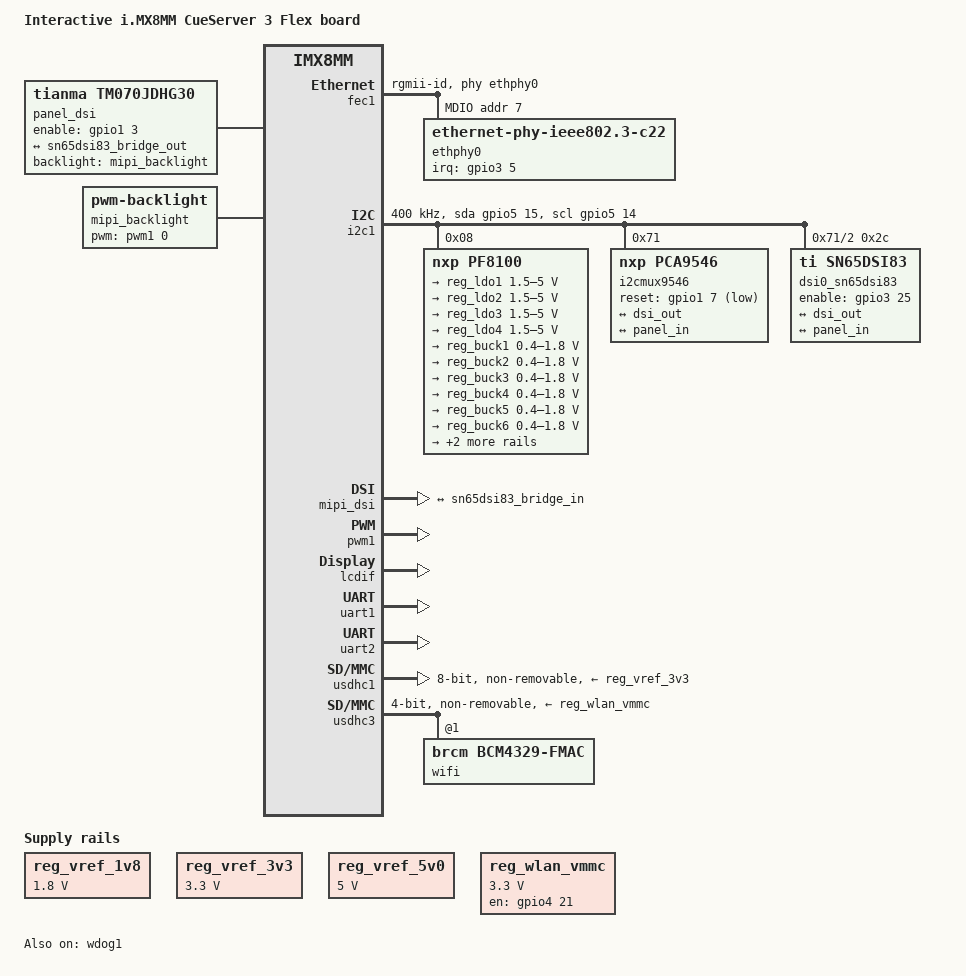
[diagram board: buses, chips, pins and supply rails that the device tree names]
// SPDX-License-Identifier: (GPL-2.0+ OR MIT)
/*
 * Copyright 2023 Boundary Devices
 */

/dts-v1/;
#include "imx8mm.dtsi"

/ {
	model = "Interactive i.MX8MM CueServer 3 Flex board";
	compatible = "boundary,imx8mm-nitrogen-smarc", "fsl,imx8mm";

	aliases {
		rtc1 = &snvs_rtc;
	};

	chosen {
                stdout-path = &uart2;
        };

	panel_dsi: panel-dsi {
		pinctrl-names = "default";
		pinctrl-0 = <&pinctrl_lvds>;
		//compatible = "boundary,bd070-101"; /* For BD070LIC3 and BD101LCC3 */
		compatible = "tianma,tm070jdhg30";
		// compatible = "panel-lvds";
		backlight = <&mipi_backlight>;
		enable-gpios = <&gpio1 3 GPIO_ACTIVE_HIGH>;
		status = "okay";
#if 0
		width-mm = <151>;
                height-mm = <95>;

                fsl,data-mapping = "spwg"; /* spwg or jeida */
                fsl,data-width = <24>; /* 18, 24 etc.*/
                data-mapping = "vesa-24"; /* vesa-24 or jeida-24 etc. */

		panel_t: panel-timing {
                        /*  */
                        clock-frequency = <71700000>;
                        hactive = <1280>;
                        hfront-porch = <151>;
                        hback-porch = <5>;
                        hsync-len = <4>;
                        vactive = <800>;
                        vfront-porch = <28>;
                        vback-porch = <2>;
                        vsync-len = <1>;
                };
#endif
		port {
			panel_in: endpoint {
				remote-endpoint = <&sn65dsi83_bridge_out>;
			};
		};
	};

        reg_vref_1v8: regulator-vref-1v8 {
                compatible = "regulator-fixed";
                regulator-name = "vref-1v8";
                regulator-min-microvolt = <1800000>;
                regulator-max-microvolt = <1800000>;
        };

        reg_vref_3v3: regulator-vref-3v3 {
                compatible = "regulator-fixed";
                regulator-name = "vref-3v3";
                regulator-min-microvolt = <3300000>;
                regulator-max-microvolt = <3300000>;
        };

        reg_vref_5v0: regulator-vref-5v0 {
                compatible = "regulator-fixed";
                regulator-name = "vref-5v0";
                regulator-min-microvolt = <5000000>;
                regulator-max-microvolt = <5000000>;
        };

        reg_wlan_vmmc: regulator-wlan-vmmc {
                compatible = "regulator-fixed";
                pinctrl-names = "default";
                pinctrl-0 = <&pinctrl_reg_wlan_vmmc>;
                regulator-name = "reg_wlan_vmmc";
                regulator-min-microvolt = <3300000>;
                regulator-max-microvolt = <3300000>;
                gpio = <&gpio4 21 GPIO_ACTIVE_HIGH>;
                startup-delay-us = <70000>;
                enable-active-high;
        };

	mipi_backlight: mipi-backlight {
		brightness-levels = <0 1 2 3 4 5 6 7 8 9 10>;
		compatible = "pwm-backlight";
		default-brightness-level = <8>;
		display = <&mipi_backlight>;
		pwms = <&pwm1 0 30000 0>;
		status = "okay";
	};

};


&A53_0 {
        cpu-supply = <&reg_buck3>;
};

&fec1 {
        pinctrl-names = "default";
        pinctrl-0 = <&pinctrl_fec1>;
        phy-mode = "rgmii-id";
        phy-handle = <&ethphy0>;
        fsl,magic-packet;
        status = "okay";

        mdio {
                #address-cells = <1>;
                #size-cells = <0>;

                ethphy0: ethernet-phy@7 {
                        compatible = "ethernet-phy-ieee802.3-c22";
                        interrupts-extended = <&gpio3 5 IRQ_TYPE_LEVEL_LOW>;
                        reg = <7>;
                        rxc-skew-ps = <3000>;
                        rxd0-skew-ps = <0>;
                        rxd1-skew-ps = <0>;
                        rxd2-skew-ps = <0>;
                        rxd3-skew-ps = <0>;
                        rxdv-skew-ps = <0>;
                        txc-skew-ps = <3000>;
                        txd0-skew-ps = <0>;
                        txd1-skew-ps = <0>;
                        txd2-skew-ps = <0>;
                        txd3-skew-ps = <0>;
                        txen-skew-ps = <0>;
                };
        };
};

&i2c1 {
        clock-frequency = <400000>;
        pinctrl-names = "default", "gpio";
        pinctrl-0 = <&pinctrl_i2c1>;
        pinctrl-1 = <&pinctrl_i2c1_1>;
        scl-gpios = <&gpio5 14 GPIO_OPEN_DRAIN>;
        sda-gpios = <&gpio5 15 GPIO_OPEN_DRAIN>;
        status = "okay";

        pf8100@8 {
                compatible = "nxp,pf8100";
                pinctrl-names = "default";
                pinctrl-0 = <&pinctrl_i2c1_pf8100>;
                reg = <0x08>;

                regulators {
                        reg_ldo1: ldo1 {
                                regulator-always-on;
                                regulator-boot-on;
                                regulator-max-microvolt = <5000000>;
                                regulator-min-microvolt = <1500000>;
                        };

                        reg_ldo2: ldo2 {
                                regulator-always-on;
                                regulator-boot-on;
                                regulator-max-microvolt = <5000000>;
                                regulator-min-microvolt = <1500000>;
                                /* vselect low is 3.3V, high is 1.8V */
                                vselect-en;
                        };

                        reg_ldo3: ldo3 {
                                regulator-always-on;
                                regulator-boot-on;
                                regulator-max-microvolt = <5000000>;
                                regulator-min-microvolt = <1500000>;
                        };

                        reg_ldo4: ldo4 {
                                regulator-always-on;
                                regulator-boot-on;
                                regulator-max-microvolt = <5000000>;
                                regulator-min-microvolt = <1500000>;
                        };

                        reg_buck1: buck1 {
                                nxp,phase-shift = <0>;
                                regulator-max-microamp = <4500000>;
                                regulator-always-on;
                                regulator-boot-on;
                                regulator-max-microvolt = <1800000>;
                                regulator-min-microvolt =  <400000>;
                        };

                        reg_buck2: buck2 {
                                regulator-always-on;
                                regulator-boot-on;
                                regulator-max-microvolt = <1800000>;
                                regulator-min-microvolt =  <400000>;
                        };

                        reg_buck3: buck3 {
                                regulator-always-on;
                                regulator-boot-on;
                                regulator-max-microvolt = <1800000>;
                                regulator-min-microvolt =  <400000>;
                                fast-slew = <1>;
                        };

                        reg_buck4: buck4 {
                                regulator-always-on;
                                regulator-boot-on;
                                regulator-max-microvolt = <1800000>;
                                regulator-min-microvolt =  <400000>;
                                fast-slew = <1>;
                        };

                        reg_buck5: buck5 {
                                regulator-boot-on;
                                regulator-max-microvolt = <1800000>;
                                regulator-min-microvolt =  <400000>;
                        };

                        reg_buck6: buck6 {
                                regulator-always-on;
                                regulator-boot-on;
                                regulator-max-microvolt = <1800000>;
                                regulator-min-microvolt =  <400000>;
                        };

                        reg_buck7: buck7 {
                                regulator-always-on;
                                regulator-boot-on;
                                regulator-max-microvolt = <4100000>;
                                regulator-min-microvolt = <1000000>;
                        };

                        reg_vsnvs: vsnvs {
                                regulator-always-on;
                                regulator-boot-on;
                                regulator-max-microvolt = <3300000>;
                                regulator-min-microvolt = <1800000>;
                        };
                };
        };

	i2cmux9546@71 {
                pinctrl-names = "default";
                pinctrl-0 = <&pinctrl_i2c1_pca9546>;
                compatible = "nxp,pca9546";
                reg = <0x71>;
                reset-gpios = <&gpio1 7 GPIO_ACTIVE_LOW>;
                #address-cells = <1>;
                #size-cells = <0>;

                i2c1a: i2c1@0 {
                        /* CSI0 */
                        clock-frequency = <100000>;
                        reg = <0>;
                        #address-cells = <1>;
                        #size-cells = <0>;
                };

                i2c1b: i2c1@1 {
                        /* LCD */
                        clock-frequency = <100000>;
                        reg = <1>;
                        #address-cells = <1>;
                        #size-cells = <0>;
                };

                i2c1c: i2c1@2 {
                        /* SN65 */
                        clock-frequency = <100000>;
                        reg = <2>;
                        #address-cells = <1>;
                        #size-cells = <0>;
                };
        };
}; // End &i2c1

&mipi_dsi {

	status = "okay";

	port@1 {
		reg = <1>;
		dsi_out: endpoint {
			remote-endpoint = <&sn65dsi83_bridge_in>;
			attach-bridge;
		};
	};
};

&pwm1 {
	status = "okay";
};

&i2c1c {
	dsi0_sn65dsi83: dsi0@2c {
		compatible = "ti,sn65dsi83";
		pinctrl-names = "default";
		pinctrl-0 = <&pinctrl_sn65>;
		enable-gpios = <&gpio3 25 GPIO_ACTIVE_HIGH>;
		/* This driver does NOT use the interrupt pin */
		reg = <0x2c>;
		status = "okay";

		ports {
		#address-cells = <1>;
		#size-cells = <0>;

			port@0 {
				reg = <0>;

				sn65dsi83_bridge_in: endpoint {
					remote-endpoint = <&dsi_out>;
					data-lanes = <1 2 3 4>;
				};
			};

			port@2 {
				reg = <2>;

				sn65dsi83_bridge_out: endpoint {
					remote-endpoint = <&panel_in>;
				};
			};

		};
	};
};

&lcdif {
        status = "okay";
};

&uart1 {
	pinctrl-names = "default";
        pinctrl-0 = <&pinctrl_uart1>;
        assigned-clocks = <&clk IMX8MM_CLK_UART1>;
        assigned-clock-parents = <&clk IMX8MM_SYS_PLL1_80M>;
        status = "okay";
};

&uart2 { /* console */
	pinctrl-names = "default";
        pinctrl-0 = <&pinctrl_uart2>;
        assigned-clocks = <&clk IMX8MM_CLK_UART1>;
        assigned-clocks = <&clk IMX8MM_CLK_UART2>;
        assigned-clock-parents = <&clk IMX8MM_CLK_24M>;
        status = "okay";
};

&usdhc1 {
        bus-width = <8>;
        mmc-hs400-1_8v;
        mmc-hs400-enhanced-strobe;
        no-sd;
        no-sdio;
        non-removable;
        pinctrl-names = "default", "state_100mhz", "state_200mhz";
        pinctrl-0 = <&pinctrl_usdhc1>;
        pinctrl-1 = <&pinctrl_usdhc1_100mhz>;
        pinctrl-2 = <&pinctrl_usdhc1_200mhz>;
        status = "okay";
        vmmc-supply = <&reg_vref_3v3>;
        vqmmc-1-8-v;
        vqmmc-supply = <&reg_vref_1v8>;
};

&usdhc3 {
        bus-width = <4>;
        fsl,sdio-async-interrupt-enabled;
        keep-power-in-suspend;
        non-removable;
        pinctrl-names = "default", "state_100mhz", "state_200mhz";
        pinctrl-0 = <&pinctrl_usdhc3>;
        pinctrl-1 = <&pinctrl_usdhc3_100mhz>;
        pinctrl-2 = <&pinctrl_usdhc3_200mhz>;
        pm-ignore-notify;
        status = "okay";
        vmmc-supply = <&reg_wlan_vmmc>;
        vqmmc-1-8-v;
        vqmmc-supply = <&reg_vref_1v8>;
        #address-cells = <1>;
        #size-cells = <0>;

        wifi@1 {
                reg = <1>;
                compatible = "brcm,bcm4329-fmac";
                laird,regdomain = "US";
        };
};

&wdog1 {
        pinctrl-names = "default";
        pinctrl-0 = <&pinctrl_wdog>;
        fsl,ext-reset-output;
        status = "okay";
};

&iomuxc {
	pinctrl_fec1: fec1grp {
                fsl,pins = <
			MX8MM_IOMUXC_ENET_MDC_ENET1_MDC			0x00
			MX8MM_IOMUXC_ENET_MDIO_ENET1_MDIO		0x00
			MX8MM_IOMUXC_ENET_RD0_ENET1_RGMII_RD0		0x91
			MX8MM_IOMUXC_ENET_RD1_ENET1_RGMII_RD1		0x91
			MX8MM_IOMUXC_ENET_RD2_ENET1_RGMII_RD2		0x91
			MX8MM_IOMUXC_ENET_RD3_ENET1_RGMII_RD3		0x91
			MX8MM_IOMUXC_ENET_RXC_ENET1_RGMII_RXC		0x91
			MX8MM_IOMUXC_ENET_RX_CTL_ENET1_RGMII_RX_CTL	0x91
			MX8MM_IOMUXC_ENET_TD0_ENET1_RGMII_TD0		0x10
			MX8MM_IOMUXC_ENET_TD1_ENET1_RGMII_TD1		0x10
			MX8MM_IOMUXC_ENET_TD2_ENET1_RGMII_TD2		0x10
			MX8MM_IOMUXC_ENET_TD3_ENET1_RGMII_TD3		0x10
			MX8MM_IOMUXC_ENET_TXC_ENET1_RGMII_TXC		0x12
			MX8MM_IOMUXC_ENET_TX_CTL_ENET1_RGMII_TX_CTL	0x10
			MX8MM_IOMUXC_NAND_RE_B_GPIO3_IO15		0x159
			MX8MM_IOMUXC_NAND_CLE_GPIO3_IO5			0x1c0
                >;
        };

	pinctrl_i2c1: i2c1grp {
                fsl,pins = <
			MX8MM_IOMUXC_I2C1_SCL_I2C1_SCL			0x400001c3
			MX8MM_IOMUXC_I2C1_SDA_I2C1_SDA			0x400001c3
                >;
        };

	pinctrl_i2c1_1: i2c1-1grp {
                fsl,pins = <
			MX8MM_IOMUXC_I2C1_SCL_GPIO5_IO14		0x1c3
			MX8MM_IOMUXC_I2C1_SDA_GPIO5_IO15		0x1c3
                >;
        };

	pinctrl_i2c1_pf8100: i2c1-pf8100grp {
                fsl,pins = <
			MX8MM_IOMUXC_NAND_CE2_B_GPIO3_IO3		0x149
			MX8MM_IOMUXC_NAND_CE3_B_GPIO3_IO4		0x149
                >;
        };

	pinctrl_i2c1_pca9546: i2c1-pca9546grp {
                fsl,pins = <
			MX8MM_IOMUXC_GPIO1_IO07_GPIO1_IO7		0x100
                >;
        };

	pinctrl_lvds: mipi-sn65dsi83grp {
		fsl,pins = <
			MX8MM_IOMUXC_GPIO1_IO03_GPIO1_IO3		0x100 /* LVDS0_VDD_EN */
		>;
	};

	pinctrl_reg_wlan_vmmc: reg-wlan-vmmcgrp {
                fsl,pins = <
			MX8MM_IOMUXC_SAI2_RXFS_GPIO4_IO21		0x100
			/* Bluetooth slow clock */
			MX8MM_IOMUXC_GPIO1_IO00_ANAMIX_REF_CLK_32K	0x03
                >;
        };

	pinctrl_sn65: sn65-gpiogrp {
		fsl,pins = <
			MX8MM_IOMUXC_SAI5_MCLK_GPIO3_IO25		0x100
		>;
	};

	pinctrl_uart1: uart1-grp {
		fsl,pins = <
			MX8MM_IOMUXC_UART1_TXD_UART1_DCE_TX		0x140
			MX8MM_IOMUXC_UART1_RXD_UART1_DCE_RX		0x140
		>;
	};

	pinctrl_uart2: uart2-grp {
		fsl,pins = <
			MX8MM_IOMUXC_UART2_TXD_UART2_DCE_TX		0x140
			MX8MM_IOMUXC_UART2_RXD_UART2_DCE_RX		0x140
		>;
	};

	pinctrl_usdhc1: usdhc1grp {
                fsl,pins = <
			MX8MM_IOMUXC_SD1_CLK_USDHC1_CLK			0x10
			MX8MM_IOMUXC_SD1_CMD_USDHC1_CMD			0x150
			MX8MM_IOMUXC_SD1_DATA0_USDHC1_DATA0		0x150
			MX8MM_IOMUXC_SD1_DATA1_USDHC1_DATA1		0x150
			MX8MM_IOMUXC_SD1_DATA2_USDHC1_DATA2		0x150
			MX8MM_IOMUXC_SD1_DATA3_USDHC1_DATA3		0x150
			MX8MM_IOMUXC_SD1_DATA4_USDHC1_DATA4		0x150
			MX8MM_IOMUXC_SD1_DATA5_USDHC1_DATA5		0x150
			MX8MM_IOMUXC_SD1_DATA6_USDHC1_DATA6		0x150
			MX8MM_IOMUXC_SD1_DATA7_USDHC1_DATA7		0x150
			MX8MM_IOMUXC_SD1_STROBE_USDHC1_STROBE		0x10
			MX8MM_IOMUXC_SD1_RESET_B_GPIO2_IO10		0x140
                >;
        };

        pinctrl_usdhc1_100mhz: usdhc1-100mhzgrp {
                fsl,pins = <
			MX8MM_IOMUXC_SD1_CLK_USDHC1_CLK			0x14
			MX8MM_IOMUXC_SD1_CMD_USDHC1_CMD			0x154
			MX8MM_IOMUXC_SD1_DATA0_USDHC1_DATA0		0x154
			MX8MM_IOMUXC_SD1_DATA1_USDHC1_DATA1		0x154
			MX8MM_IOMUXC_SD1_DATA2_USDHC1_DATA2		0x154
			MX8MM_IOMUXC_SD1_DATA3_USDHC1_DATA3		0x154
			MX8MM_IOMUXC_SD1_DATA4_USDHC1_DATA4		0x154
			MX8MM_IOMUXC_SD1_DATA5_USDHC1_DATA5		0x154
			MX8MM_IOMUXC_SD1_DATA6_USDHC1_DATA6		0x154
			MX8MM_IOMUXC_SD1_DATA7_USDHC1_DATA7		0x154
			MX8MM_IOMUXC_SD1_STROBE_USDHC1_STROBE		0x14
                >;
        };

        pinctrl_usdhc1_200mhz: usdhc1-200mhzgrp {
                fsl,pins = <
			MX8MM_IOMUXC_SD1_CLK_USDHC1_CLK			0x12
			MX8MM_IOMUXC_SD1_CMD_USDHC1_CMD			0x152
			MX8MM_IOMUXC_SD1_DATA0_USDHC1_DATA0		0x152
			MX8MM_IOMUXC_SD1_DATA1_USDHC1_DATA1		0x152
			MX8MM_IOMUXC_SD1_DATA2_USDHC1_DATA2		0x152
			MX8MM_IOMUXC_SD1_DATA3_USDHC1_DATA3		0x152
			MX8MM_IOMUXC_SD1_DATA4_USDHC1_DATA4		0x152
			MX8MM_IOMUXC_SD1_DATA5_USDHC1_DATA5		0x152
			MX8MM_IOMUXC_SD1_DATA6_USDHC1_DATA6		0x152
			MX8MM_IOMUXC_SD1_DATA7_USDHC1_DATA7		0x152
			MX8MM_IOMUXC_SD1_STROBE_USDHC1_STROBE		0x12
                >;
        };

	       /* Wifi */
        pinctrl_usdhc3: usdhc3grp {
                fsl,pins = <
			MX8MM_IOMUXC_NAND_WE_B_USDHC3_CLK		0x10
			MX8MM_IOMUXC_NAND_WP_B_USDHC3_CMD		0x150
			MX8MM_IOMUXC_NAND_DATA04_USDHC3_DATA0		0x150
			MX8MM_IOMUXC_NAND_DATA05_USDHC3_DATA1		0x150
			MX8MM_IOMUXC_NAND_DATA06_USDHC3_DATA2		0x150
			MX8MM_IOMUXC_NAND_DATA07_USDHC3_DATA3		0x150
			MX8MM_IOMUXC_NAND_READY_B_USDHC3_RESET_B	0x150
                >;
        };

        pinctrl_usdhc3_100mhz: usdhc3-100mhzgrp {
                fsl,pins = <
			MX8MM_IOMUXC_NAND_WE_B_USDHC3_CLK		0x14
			MX8MM_IOMUXC_NAND_WP_B_USDHC3_CMD		0x154
			MX8MM_IOMUXC_NAND_DATA04_USDHC3_DATA0		0x154
			MX8MM_IOMUXC_NAND_DATA05_USDHC3_DATA1		0x154
			MX8MM_IOMUXC_NAND_DATA06_USDHC3_DATA2		0x154
			MX8MM_IOMUXC_NAND_DATA07_USDHC3_DATA3		0x154
                >;
        };

        pinctrl_usdhc3_200mhz: usdhc3-200mhzgrp {
                fsl,pins = <
			MX8MM_IOMUXC_NAND_WE_B_USDHC3_CLK		0x12
			MX8MM_IOMUXC_NAND_WP_B_USDHC3_CMD		0x152
			MX8MM_IOMUXC_NAND_DATA04_USDHC3_DATA0		0x152
			MX8MM_IOMUXC_NAND_DATA05_USDHC3_DATA1		0x152
			MX8MM_IOMUXC_NAND_DATA06_USDHC3_DATA2		0x152
			MX8MM_IOMUXC_NAND_DATA07_USDHC3_DATA3		0x152
                >;
        };

	pinctrl_wdog: wdoggrp {
                fsl,pins = <
			MX8MM_IOMUXC_GPIO1_IO02_WDOG1_WDOG_B		0x140
                >;
        };
};

